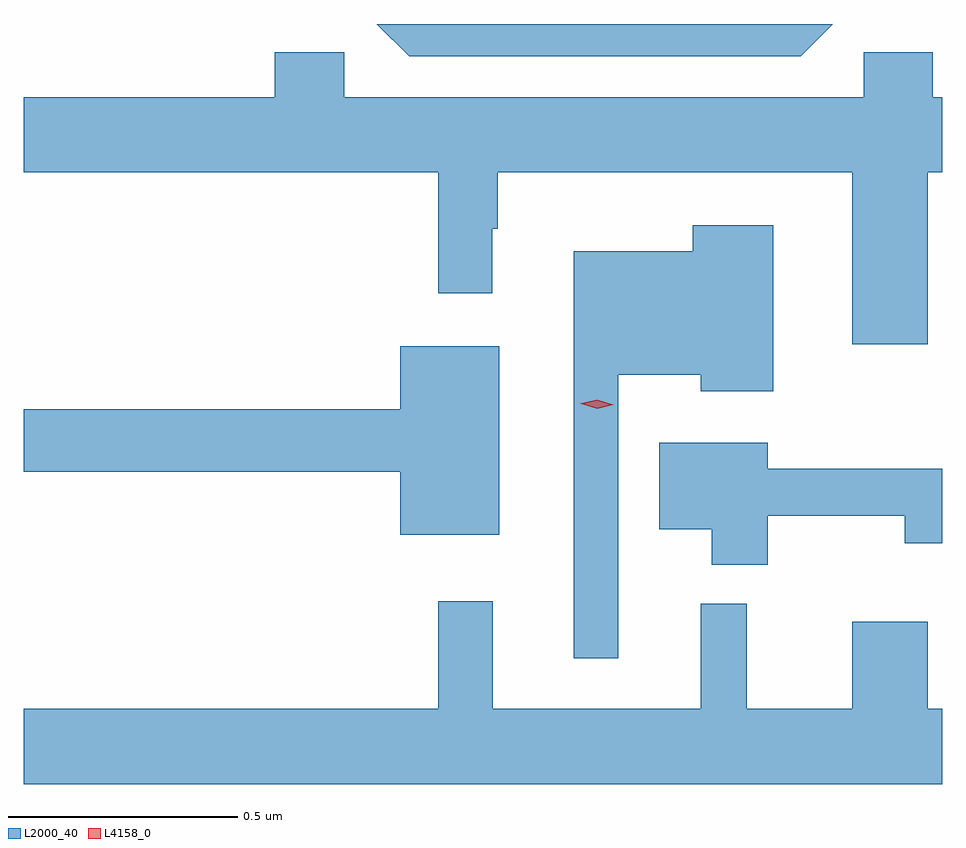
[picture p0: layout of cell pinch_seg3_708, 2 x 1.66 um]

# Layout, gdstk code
import gdstk
lib = gdstk.Library(unit=1e-6, precision=1e-09)
def P(c, l, *ps):  # polygons
    for p in ps: c.add(gdstk.Polygon(p, *l))
L2000_40 = (2000, 40)
L4158_0 = (4158, 0)

pinch_seg3_708 = lib.new_cell('pinch_seg3_708')
P(pinch_seg3_708, L2000_40, [(1088.042,674.599),(1087.049,674.599),(1087.119,674.529),(1087.972,674.529)],
  [(1088.248,674.276),(1088.28,674.276),(1088.28,674.44),(1088.259,674.44),(1088.259,674.538),(1088.109,674.538),(1088.109,674.44),(1086.978,674.44),(1086.978,674.538),(1086.827,674.538),(1086.827,674.44),(1086.28,674.44),(1086.28,674.276),(1087.183,674.276),(1087.183,674.013),(1087.3,674.013),(1087.3,674.153),(1087.312,674.153),(1087.312,674.276),(1088.084,674.276),(1088.084,673.902),(1088.248,673.902)],
  [(1087.575,673.835),(1087.754,673.835),(1087.754,673.799),(1087.912,673.799),(1087.912,674.161),(1087.737,674.161),(1087.737,674.104),(1087.478,674.104),(1087.478,673.218),(1087.575,673.218)],
  [(1087.315,673.897),(1087.1,673.897),(1087.1,673.76),(1086.28,673.76),(1086.28,673.624),(1087.1,673.624),(1087.1,673.487),(1087.315,673.487)],
  [(1087.9,673.528),(1088.198,673.528),(1088.198,673.468),(1088.28,673.468),(1088.28,673.631),(1087.9,673.631),(1087.9,673.687),(1087.664,673.687),(1087.664,673.499),(1087.778,673.499),(1087.778,673.421),(1087.9,673.421)],
  [(1088.28,673.108),(1088.248,673.108),(1088.248,673.297),(1088.084,673.297),(1088.084,673.108),(1087.854,673.108),(1087.854,673.336),(1087.754,673.336),(1087.754,673.108),(1087.301,673.108),(1087.301,673.342),(1087.183,673.342),(1087.183,673.108),(1086.28,673.108),(1086.28,672.944),(1088.28,672.944)])
P(pinch_seg3_708, L4158_0, [(1087.529,673.761),(1087.494,673.772),(1087.493,673.772),(1087.494,673.773),(1087.529,673.781),(1087.564,673.77),(1087.565,673.77),(1087.564,673.77)])

lib.write_gds('pinch_seg3_708.gds')
